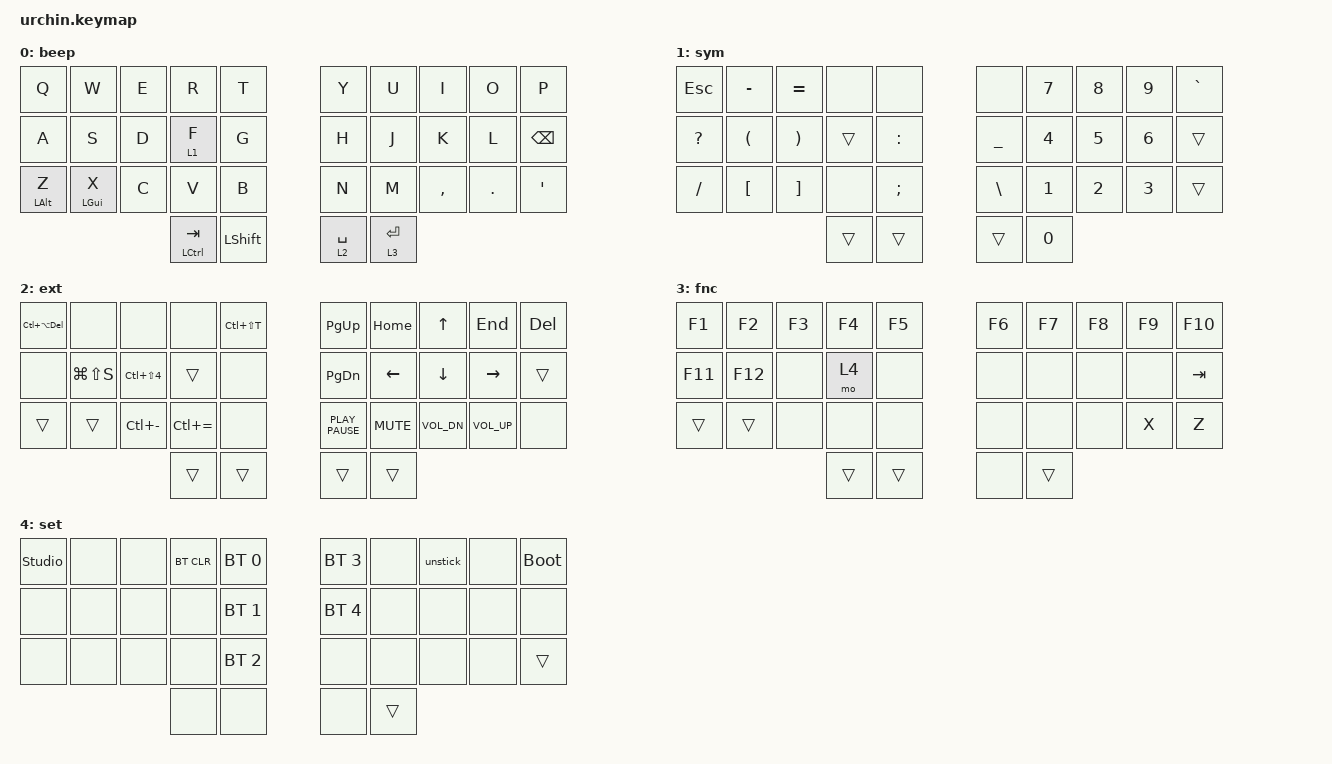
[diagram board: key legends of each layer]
/*
 * Copyright (c) 2020 duckyb
 *
 * SPDX-License-Identifier: MIT
 */

#include <behaviors.dtsi>
#include <dt-bindings/zmk/bt.h>
#include <dt-bindings/zmk/keys.h>
#include <dt-bindings/zmk/outputs.h>

// Layer definitions

#define BASE 0
#define SYM 1
#define EXT 2
#define FNC 3
#define SYM2 4
#define ACCENT 5
#define SETTINGS 6

// -----------------

&sk {
    // don't release mods on other mods presses

    ignore-modifiers;
};

/ {
    behaviors {
        // Enables holding the first mod-tap key
        // by performing a tap-release-hold sequence.
        // To use it: "&qt KEYCODE1 KEYCODE2"

        qt: quick_tap {
            compatible = "zmk,behavior-hold-tap";
            label = "QUICK_TAP";
            #binding-cells = <2>;
            flavor = "hold-preferred";
            tapping-term-ms = <200>;
            quick-tap-ms = <200>;
            bindings = <&kp>, <&kp>;
        };

        // Mod-tap for the letters that carry Alt and Gui.
        //
        // Plain &mt is hold-preferred: it commits to the modifier the instant
        // any other key goes down. Mid-word that is always what happens, so
        // rolling "next", "size" or "exam" fired Gui+T / Alt+E instead of the
        // letters. That was the whole reason for auditing this keymap.
        //
        // require-prior-idle-ms is the fix: if another key went down within
        // the last 150ms, this one can only be a tap. Letters mid-word always
        // follow a recent press, so they can no longer become modifiers.
        // Deliberate chords survive because reaching for Alt+Tab or Gui+D
        // involves a pause longer than that.
        //
        // balanced is the second line of defence - the hold now needs the
        // other key pressed AND released, not merely pressed. quick-tap-ms
        // restores holding z or x to repeat the letter, which plain &mt with
        // no quick-tap could not do.
        //
        // Deliberately NOT hold-trigger-key-positions: restricting these to
        // opposite-hand presses would also kill the misfires, but Tab and D
        // are both left-hand, so it would take Alt+Tab and Gui+D with them.

        hm: home_mods {
            compatible = "zmk,behavior-hold-tap";
            label = "HOME_MODS";
            #binding-cells = <2>;
            flavor = "balanced";
            tapping-term-ms = <220>;
            quick-tap-ms = <175>;
            require-prior-idle-ms = <150>;
            bindings = <&kp>, <&kp>;
        };

        // Layer-tap for F, which opens the number and symbol layer.
        //
        // Stock &lt is tap-preferred at 200ms, and 200ms is longer than the
        // fingers want: reaching for a digit produced "fm" instead of "1"
        // because the second key landed before the clock ran out, so F
        // resolved as a letter. The opposite error - a number appearing inside
        // a word - effectively never happened, so the budget was all on one
        // side. Shortening the term moves it back.
        //
        // Deliberately NOT a copy of hm above, despite the family resemblance.
        //
        // No require-prior-idle-ms. On hm that property is right, because Z and
        // X are pressed mid-word constantly and their tap is what needs
        // protecting. Here it would be exactly wrong: the moment you reach for
        // a digit is right after typing letters, which is precisely when it
        // would force a tap and hand back a literal f.
        //
        // Still tap-preferred, not balanced. Balanced would fire the layer as
        // soon as another key is pressed and released, removing the wait
        // entirely - but f is a common letter, and whether "for" or "from"
        // misfires would then depend on release order. A consistent short wait
        // beats an intermittent wrong character.
        //
        // 150 is a starting point, not a settled number. Both failure
        // directions are immediately visible: "fm" means go lower, digits
        // inside words mean go back up.
        //
        // Only F uses this. The thumb layer-taps stay on stock &lt, since
        // nothing is wrong with them.

        lt_sym: layer_tap_sym {
            compatible = "zmk,behavior-hold-tap";
            label = "LAYER_TAP_SYM";
            #binding-cells = <2>;
            flavor = "tap-preferred";
            tapping-term-ms = <150>;
            quick-tap-ms = <175>;
            bindings = <&mo>, <&kp>;
        };
    };

    macros {
        // sometimes my device thinks a modifier is being held down
        // pressing all modifiers fixes it.

        unstick: unstick {
            label = "ZM_unstick";
            compatible = "zmk,behavior-macro";
            #binding-cells = <0>;
            bindings = <&kp LSHIFT &kp RSHIFT &kp LCTRL &kp RCTRL &kp LALT &kp RALT &kp LGUI &kp RGUI>;
        };
    };

    combos {
        compatible = "zmk,combos";

        // both right thumb keys
        // internal-left & external-right thumb keys
        // both left thumb keys
        // left index & middle fingers (home-row)
        // hold control & space for Adobe workflow
    };

    keymap {
        compatible = "zmk,keymap";

        // Base alpha layer

        default_layer {
            display-name = "beep";
            label = "beep";
            bindings = <
&kp Q             &kp W             &kp E    &kp R            &kp T             &kp Y          &kp U          &kp I        &kp O      &kp P
&kp A             &kp S             &kp D    &lt_sym 1 F      &kp G             &kp H          &kp J          &kp K        &kp L      &kp BACKSPACE
&hm LEFT_ALT Z    &hm LEFT_GUI X    &kp C    &kp V            &kp B             &kp N          &kp M          &kp COMMA    &kp DOT    &kp SQT
                                             &mt LCTRL TAB    &kp LEFT_SHIFT    &lt 2 SPACE    &lt 3 ENTER
            >;
        };

        // Numbers and high frequency symbols

        sym_layer {
            display-name = "sym";
            label = "sym";
            bindings = <
&kp ESCAPE      &kp MINUS               &kp EQUAL                &none     &none            &none            &kp N7          &kp N8          &kp N9          &kp GRAVE
&kp QUESTION    &kp LEFT_PARENTHESIS    &kp RIGHT_PARENTHESIS    &trans    &kp COLON        &kp UNDERSCORE   &kp NUMBER_4    &kp N5          &kp NUMBER_6    &trans
&kp SLASH       &kp LEFT_BRACKET        &kp RIGHT_BRACKET        &none     &kp SEMICOLON    &kp BACKSLASH    &kp NUMBER_1    &kp NUMBER_2    &kp NUMBER_3    &trans
                                                                 &trans    &trans           &trans           &kp N0
            >;
        };

        // Arrow keys, media, and OS shortcuts.
        //
        // Backspace at the right pinky is &trans rather than &none, so it
        // falls through from the base layer and stays in the same physical
        // place whether or not this layer is held. Ctrl is available here too,
        // so that gives word-delete for free.
        //
        // Two screenshot keys, side by side on S and D:
        //   S = Gui+Shift+S, the Windows snip.
        //   D = Ctrl+Shift+4. On a Mac with Control and Command swapped in
        //       Keyboard settings (the way this keymap is meant to be used
        //       there) that arrives as Cmd+Shift+4, the Mac region capture.
        // On Windows the D key does nothing in most applications, which is
        // the intended harmless no-op.
        //
        // Zoom out and in sit beside Alt and Gui on the bottom row, ordered
        // the same way as the volume pair on the other hand. Ctrl+Equal rather
        // than Ctrl+Plus: both zoom in most browsers, but the unshifted form is
        // the one every application binds.
        //
        // These two are cross-platform for free. Zoom is Ctrl+- on Windows and
        // Cmd+- on a Mac, and the Control/Command swap maps one onto the other
        // exactly - unlike Ctrl+Tab, which is why that one is not here.

        ext_layer {
            display-name = "ext";
            label = "ext";
            bindings = <
&kp LC(LA(DEL))    &none            &none             &none              &kp LC(LS(T))    &kp PAGE_UP         &kp HOME      &kp UP          &kp END            &kp DEL
&none              &kp LG(LS(S))    &kp LC(LS(N4))    &trans             &none            &kp PAGE_DOWN       &kp LEFT      &kp DOWN        &kp RIGHT          &trans
&trans             &trans           &kp LC(MINUS)     &kp LC(EQUAL)      &none            &kp K_PLAY_PAUSE    &kp C_MUTE    &kp C_VOL_DN    &kp C_VOLUME_UP    &none
                                                      &trans             &trans           &trans              &trans
            >;
        };

        // Function keys, plus copies of the three keys their own modifier
        // sits on.
        //
        // A modifier cannot modify the key it lives on: Ctrl and Tab share one
        // thumb key, Alt lives on Z and Gui lives on X, so Ctrl+Tab, Alt+Z and
        // Gui+X cannot be chorded on the base layer. Tab sits where Backspace
        // is on base, and Z and X are mirrored across to the right hand, so
        // each chord becomes left-hand modifier plus right thumb plus right
        // hand copy. Plain copies rather than bound chords, so they stay
        // OS-neutral - you build the chord yourself and it comes out right on
        // Windows, Mac and Linux alike.
        //
        // The settings layer moved here from the bottom-right pinky to free
        // that slot for the Z copy.
        //
        // It sits on F on purpose. F commits the left index finger, which puts
        // BT clear and profiles 0, 1 and 2 - all four in the index columns -
        // out of comfortable reach. That is the intent, not a cost: nothing on
        // the settings layer belongs in normal typing, and the functions there
        // are niche enough that the only real risk is triggering one by
        // accident. Awkward is the feature. Studio unlock stays reachable on
        // the pinky, which is fine.
        //
        // Do not "fix" this by moving it to a finger that leaves the layer
        // fully reachable. That defeats the point.

        fnc_layer {
            display-name = "fnc";
            label = "fnc";
            bindings = <
&kp F1     &kp F2     &kp F3    &kp F4    &kp F5    &kp F6    &kp F7    &kp F8    &kp F9    &kp F10
&kp F11    &kp F12    &none     &mo 4     &none     &none     &none     &none     &none     &kp TAB
&trans     &trans     &none     &none     &none     &none     &none     &none     &kp X     &kp Z
                                &trans    &trans    &none     &trans
            >;
        };

        // Low frequency symbols.
        // Used to type regional accents.
        // Used to change the keyboard's settings.

        settings_layer {
            display-name = "set";
            label = "set";
            bindings = <
&studio_unlock      &none    &none    &bt BT_CLR    &bt BT_SEL 0    &bt BT_SEL 3    &none     &unstick    &none    &bootloader
&none               &none    &none    &none         &bt BT_SEL 1    &bt BT_SEL 4    &none     &none       &none    &none
&none               &none    &none    &none         &bt BT_SEL 2    &none           &none     &none       &none    &trans
                                 &none         &none           &none           &trans
            >;
        };
    };
};
